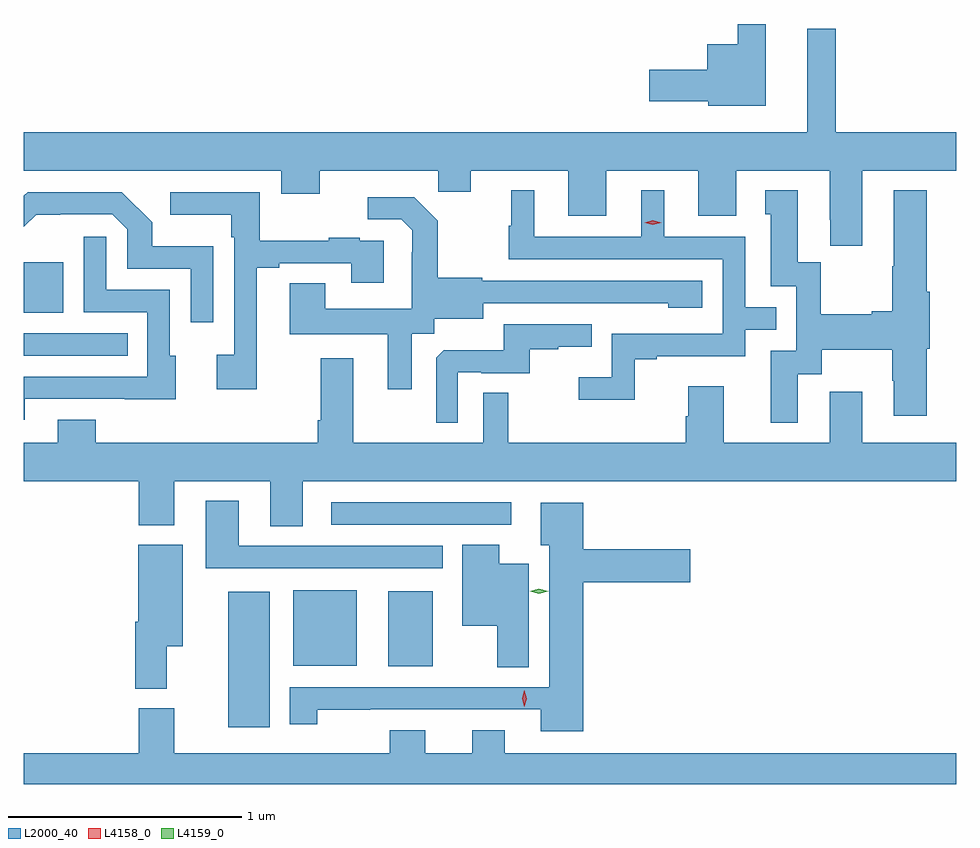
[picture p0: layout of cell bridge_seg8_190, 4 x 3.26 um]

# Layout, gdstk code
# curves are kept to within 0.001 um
import gdstk
lib = gdstk.Library(unit=1e-6, precision=1e-09)
def R(c, l, rs):  # rectangles x0, y0, x1, y1
    for r in rs: c.add(gdstk.rectangle(r[:2], r[2:], *l))
def P(c, l, *ps):  # polygons
    for p in ps: c.add(gdstk.Polygon(p, *l))
L2000_40 = (2000, 40)
L4158_0 = (4158, 0)
L4159_0 = (4159, 0)

bridge_seg8_190 = lib.new_cell('bridge_seg8_190')
R(bridge_seg8_190, L2000_40, [(267.647,1082.144,267.826,1082.725), (268.334,1082.405,268.525,1082.728), (267.926,1082.408,268.198,1082.731), (268.089,1083.012,268.861,1083.108), (266.77,1083.738,267.215,1083.834), (266.77,1083.923,266.938,1084.138)])
P(bridge_seg8_190, L2000_40, [(269.953,1085.161),(269.832,1085.161),(269.832,1085.074),(269.702,1085.074),(269.702,1084.964),(269.454,1084.964),(269.454,1084.829),(269.706,1084.829),(269.706,1084.811),(269.953,1084.811)],
  [(270.227,1084.321),(270.23,1084.321),(270.23,1084.209),(270.367,1084.209),(270.367,1084.532),(270.77,1084.532),(270.77,1084.696),(270.253,1084.696),(270.253,1085.14),(270.131,1085.14),(270.131,1084.696),(266.77,1084.696),(266.77,1084.532),(267.875,1084.532),(267.875,1084.433),(268.039,1084.433),(268.039,1084.532),(268.549,1084.532),(268.549,1084.442),(268.687,1084.442),(268.687,1084.532),(269.105,1084.532),(269.105,1084.338),(269.269,1084.338),(269.269,1084.532),(269.663,1084.532),(269.663,1084.338),(269.827,1084.338),(269.827,1084.532),(270.227,1084.532)],
  [(270.091,1083.658),(270.193,1083.658),(270.193,1083.764),(270.496,1083.764),(270.496,1083.63),(270.503,1083.63),(270.503,1083.48),(270.643,1083.48),(270.643,1083.768),(270.656,1083.768),(270.656,1084.012),(270.643,1084.012),(270.643,1084.447),(270.503,1084.447),(270.503,1084.121),(270.496,1084.121),(270.496,1083.929),(270.407,1083.929),(270.407,1083.916),(270.189,1083.916),(270.189,1084.139),(270.091,1084.139),(270.091,1084.447),(269.951,1084.447),(269.951,1084.344),(269.975,1084.344),(269.975,1084.035),(270.084,1084.035),(270.084,1083.759),(269.975,1083.759),(269.975,1083.45),(270.091,1083.45)],
  [(269.391,1083.723),(269.485,1083.723),(269.485,1083.735),(269.865,1083.735),(269.865,1083.849),(269.999,1083.849),(269.999,1083.945),(269.865,1083.945),(269.865,1084.248),(269.518,1084.248),(269.518,1084.447),(269.42,1084.447),(269.42,1084.248),(268.96,1084.248),(268.96,1084.447),(268.862,1084.447),(268.862,1084.296),(268.851,1084.296),(268.851,1084.152),(269.769,1084.152),(269.769,1083.831),(269.292,1083.831),(269.292,1083.646),(269.151,1083.646),(269.151,1083.548),(269.391,1083.548)],
  [(267.769,1084.116),(267.865,1084.116),(267.865,1084.134),(268.175,1084.134),(268.175,1084.05),(268.315,1084.05),(268.315,1084.23),(268.211,1084.23),(268.211,1084.243),(268.079,1084.243),(268.079,1084.232),(267.781,1084.232),(267.781,1084.44),(267.399,1084.44),(267.399,1084.343),(267.66,1084.343),(267.66,1084.247),(267.672,1084.247),(267.672,1083.742),(267.597,1083.742),(267.597,1083.594),(267.769,1083.594)],
  [(267.582,1084.207),(267.321,1084.207),(267.321,1084.31),(267.19,1084.44),(266.787,1084.44),(266.77,1084.423),(266.77,1084.291),(266.822,1084.343),(267.15,1084.344),(267.213,1084.281),(267.213,1084.11),(267.486,1084.11),(267.486,1083.882),(267.582,1083.882)],
  [(268.435,1083.832),(268.53,1083.832),(268.53,1083.896),(268.741,1083.896),(268.741,1083.963),(269.535,1083.962),(269.535,1083.944),(269.68,1083.944),(269.68,1084.059),(268.737,1084.059),(268.737,1084.072),(268.545,1084.072),(268.545,1084.317),(268.445,1084.417),(268.245,1084.417),(268.245,1084.323),(268.389,1084.323),(268.436,1084.276),(268.436,1084.181),(268.434,1084.181),(268.434,1083.94),(268.063,1083.94),(268.063,1084.049),(267.911,1084.049),(267.911,1083.83),(268.331,1083.83),(268.331,1083.594),(268.435,1083.594)],
  [(266.773,1083.552),(267.203,1083.552),(267.203,1083.551),(267.421,1083.551),(267.421,1083.738),(267.396,1083.738),(267.396,1084.02),(267.123,1084.02),(267.123,1084.249),(267.027,1084.249),(267.027,1083.924),(267.3,1083.924),(267.3,1083.648),(266.77,1083.648),(266.77,1083.462),(266.773,1083.462)],
  [(268.632,1083.666),(268.732,1083.666),(268.732,1083.663),(268.94,1083.663),(268.94,1083.765),(269.063,1083.765),(269.063,1083.776),(269.207,1083.776),(269.207,1083.873),(268.83,1083.873),(268.83,1083.761),(268.571,1083.761),(268.539,1083.729),(268.539,1083.449),(268.632,1083.449)],
  [(267.967,1083.2),(270.77,1083.2),(270.77,1083.364),(270.367,1083.364),(270.367,1083.583),(270.227,1083.583),(270.227,1083.364),(269.773,1083.364),(269.773,1083.607),(269.621,1083.607),(269.621,1083.477),(269.609,1083.477),(269.609,1083.364),(268.849,1083.364),(268.849,1083.578),(268.74,1083.578),(268.74,1083.364),(268.183,1083.364),(268.183,1083.727),(268.043,1083.727),(268.043,1083.46),(268.031,1083.46),(268.031,1083.364),(267.079,1083.364),(267.079,1083.463),(266.915,1083.463),(266.915,1083.364),(266.77,1083.364),(266.77,1083.2),(267.263,1083.2),(267.263,1083.011),(267.415,1083.011),(267.415,1083.2),(267.827,1083.2),(267.827,1083.007),(267.967,1083.007)],
  [(268.567,1082.922),(267.691,1082.922),(267.691,1083.115),(267.551,1083.115),(267.551,1082.826),(268.567,1082.826)],
  [(269.171,1082.765),(269.629,1082.765),(269.629,1082.907),(269.171,1082.907),(269.171,1083.106),(268.988,1083.106),(268.988,1082.924),(269.024,1082.924),(269.024,1082.316),(267.911,1082.316),(267.911,1082.157),(268.029,1082.157),(268.029,1082.219),(268.256,1082.219),(268.256,1082.22),(268.988,1082.22),(268.988,1082.126),(269.171,1082.126)],
  [(268.936,1082.845),(268.81,1082.845),(268.81,1082.927),(268.652,1082.927),(268.652,1082.579),(268.802,1082.579),(268.802,1082.401),(268.936,1082.401)],
  [(267.382,1082.492),(267.451,1082.492),(267.451,1082.926),(267.26,1082.926),(267.26,1082.596),(267.248,1082.596),(267.248,1082.309),(267.382,1082.309)],
  [(270.77,1082.032),(268.834,1082.032),(268.834,1082.131),(268.694,1082.131),(268.694,1082.032),(268.492,1082.032),(268.492,1082.131),(268.34,1082.131),(268.34,1082.032),(267.415,1082.032),(267.415,1082.224),(267.263,1082.224),(267.263,1082.032),(266.77,1082.032),(266.77,1081.9),(270.77,1081.9)])
P(bridge_seg8_190, L4158_0, [(269.469,1084.299),(269.433,1084.309),(269.433,1084.309),(269.433,1084.309),(269.469,1084.319),(269.505,1084.309),(269.505,1084.309),(269.505,1084.309)],
  [(268.917,1082.231),(268.917,1082.231),(268.908,1082.267),(268.918,1082.302),(268.918,1082.303),(268.918,1082.302),(268.928,1082.266),(268.917,1082.231)])
P(bridge_seg8_190, L4159_0, [(268.98,1082.717),(268.942,1082.727),(268.942,1082.727),(268.942,1082.727),(268.98,1082.737),(269.019,1082.727),(269.019,1082.727),(269.019,1082.727)])

lib.write_gds('bridge_seg8_190.gds')
